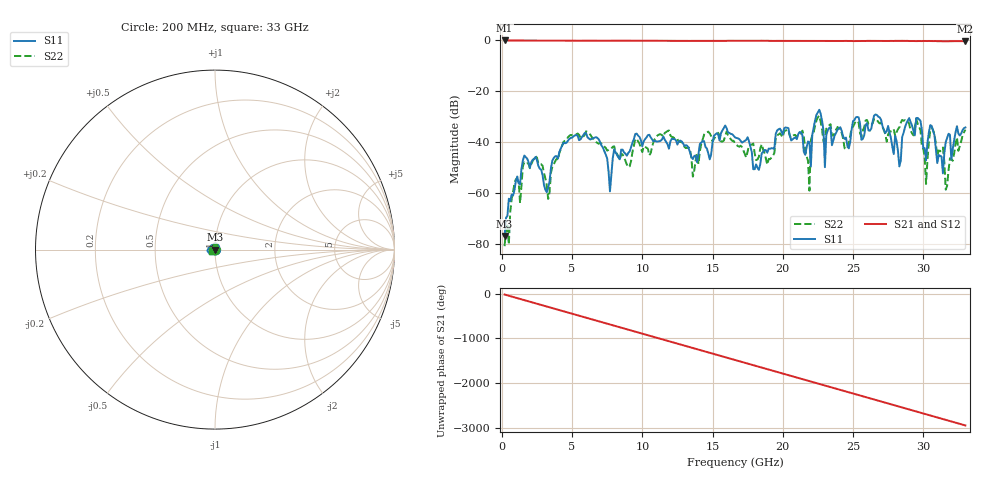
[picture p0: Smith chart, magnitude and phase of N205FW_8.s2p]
# GHZ S RI R 50
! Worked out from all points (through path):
!   329 points, 200 MHz to 33 GHz, reference 50 ohm
!   highest |S21| = -0.02 dB at 200 MHz (marker M1); lowest = -0.4 dB at 33 GHz (marker M2)
!   group delay of S21, straight-line fit = 248 ps
!   lowest |S11| = -77.0 dB at 200 MHz (marker M3), VSWR 1.00, Z = 50 - j0.0103 ohm
!   |S11| at or under -10 dB: start of sweep to end of sweep
!   |S22| runs from -81.0 to -29.7 dB; largest |S21 - S12| = 0.0022
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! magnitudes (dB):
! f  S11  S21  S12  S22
! 200 MHz  -77.0  0.0  0.0  -81.0
! 1.6 GHz  -45.4  -0.1  -0.1  -48.0
! 3.3 GHz  -58.1  -0.1  -0.1  -62.5
! 5.7 GHz  -38.1  -0.1  -0.1  -38.1
! 7.7 GHz  -59.4  -0.1  -0.1  -42.6
! 8 GHz  -42.8  -0.1  -0.1  -41.7
! 11.2 GHz  -39.7  -0.1  -0.1  -37.0
! 13.6 GHz  -46.7  -0.2  -0.2  -53.6
! 14.5 GHz  -42.0  -0.2  -0.2  -36.5
! 16.6 GHz  -38.2  -0.2  -0.2  -40.5
! 18.3 GHz  -51.0  -0.2  -0.2  -45.8
! 21.4 GHz  -37.4  -0.2  -0.2  -35.5
! 21.9 GHz  -40.1  -0.3  -0.2  -59.2
! 22.1 GHz  -37.2  -0.2  -0.2  -37.4
! 27.6 GHz  -36.2  -0.2  -0.2  -35.8
! 28.3 GHz  -49.6  -0.2  -0.2  -34.2
! 29.5 GHz  -30.6  -0.3  -0.3  -30.8
! 30.2 GHz  -47.2  -0.2  -0.2  -56.5
! 30.6 GHz  -33.6  -0.3  -0.3  -34.3
! 31.4 GHz  -52.4  -0.3  -0.3  -42.1
! 31.6 GHz  -40.0  -0.3  -0.3  -58.8
! 33 GHz  -34.3  -0.4  -0.4  -35.1
